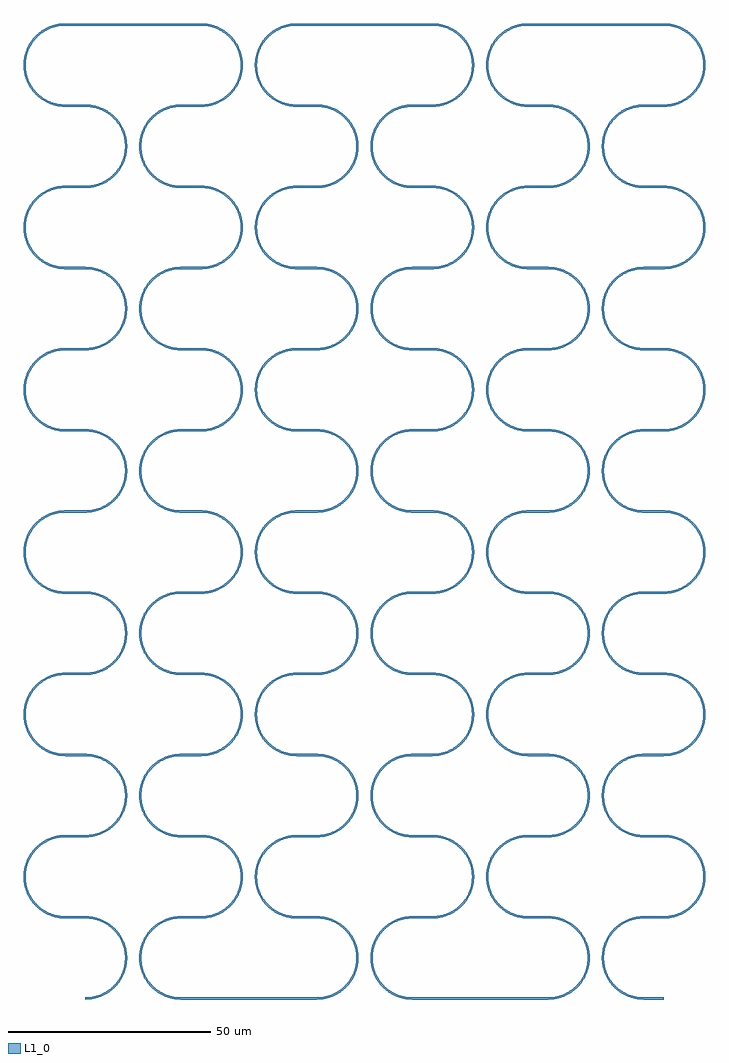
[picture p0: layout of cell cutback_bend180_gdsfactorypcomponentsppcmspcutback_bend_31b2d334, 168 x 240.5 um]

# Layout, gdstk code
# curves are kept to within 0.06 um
from math import pi, radians
import gdstk
lib = gdstk.Library(unit=1e-6, precision=1e-09)
def R(c, l, rs):  # rectangles x0, y0, x1, y1
    for r in rs: c.add(gdstk.rectangle(r[:2], r[2:], *l))
def P(c, l, *ps):  # polygons
    for p in ps: c.add(gdstk.Polygon(p, *l))
L1_0 = (1, 0)

bend_circular_gdsfactory = lib.new_cell('bend_circular_gdsfactorypcomponentspbendspbend_circular_89f01867')
P(bend_circular_gdsfactory, L1_0, [(0,-0.25),(0,0.25),(1.232,0.328),(2.204,0.502),(3.154,0.774),(4.294,1.246),(5.771,2.141),(7.067,3.283),(8.141,4.635),(8.642,5.486),(9.054,6.383),(9.374,7.318),(9.597,8.28),(9.75,10),(9.597,11.72),(9.374,12.682),(9.054,13.617),(8.642,14.514),(8.141,15.365),(7.067,16.717),(5.771,17.859),(4.294,18.754),(3.154,19.226),(2.204,19.498),(1.232,19.672),(0,19.75),(0,20.25),(1.037,20.197),(2.063,20.04),(3.802,19.519),(4.746,19.085),(5.641,18.558),(6.477,17.944),(7.248,17.248),(7.944,16.477),(8.558,15.641),(9.085,14.746),(9.519,13.802),(10.04,12.063),(10.197,11.037),(10.25,10),(10.197,8.963),(10.04,7.937),(9.519,6.198),(9.085,5.254),(8.558,4.359),(7.944,3.523),(7.248,2.752),(6.477,2.056),(5.641,1.442),(4.746,0.915),(3.802,0.481),(2.063,-0.04),(1.037,-0.197)])

straight_gdsfactorypcomp = lib.new_cell('straight_gdsfactorypcomponentspwaveguidespstraight_L5_N_32b584f5')
R(straight_gdsfactorypcomp, L1_0, [(0,-0.25,5,0.25)])

c_straight_gdsfactorypcomp = lib.new_cell('straight_gdsfactorypcomponentspwaveguidespstraight_L28p_b6ae3113')
R(c_straight_gdsfactorypcomp, L1_0, [(0,-0.25,28.5,0.25)])

cutback_bend180_gdsfacto = lib.new_cell('cutback_bend180_gdsfactorypcomponentsppcmspcutback_bend_31b2d334')
cutback_bend180_gdsfacto.add(gdstk.Reference(bend_circular_gdsfactory, (-5,120), rotation=pi))
cutback_bend180_gdsfacto.add(gdstk.Reference(straight_gdsfactorypcomp, (-5,120)))
cutback_bend180_gdsfacto.add(gdstk.Reference(bend_circular_gdsfactory, (0,120)))
cutback_bend180_gdsfacto.add(gdstk.Reference(bend_circular_gdsfactory, (23.5,140), rotation=pi))
cutback_bend180_gdsfacto.add(gdstk.Reference(straight_gdsfactorypcomp, (23.5,120)))
cutback_bend180_gdsfacto.add(gdstk.Reference(bend_circular_gdsfactory, (28.5,100)))
cutback_bend180_gdsfacto.add(gdstk.Reference(bend_circular_gdsfactory, (52,120), rotation=pi))
cutback_bend180_gdsfacto.add(gdstk.Reference(straight_gdsfactorypcomp, (52,120)))
cutback_bend180_gdsfacto.add(gdstk.Reference(bend_circular_gdsfactory, (57,120)))
cutback_bend180_gdsfacto.add(gdstk.Reference(c_straight_gdsfactorypcomp, (57,240)))
cutback_bend180_gdsfacto.add(gdstk.Reference(bend_circular_gdsfactory, (80.5,140), rotation=pi))
cutback_bend180_gdsfacto.add(gdstk.Reference(straight_gdsfactorypcomp, (80.5,120)))
cutback_bend180_gdsfacto.add(gdstk.Reference(bend_circular_gdsfactory, (85.5,100)))
cutback_bend180_gdsfacto.add(gdstk.Reference(bend_circular_gdsfactory, (109,120), rotation=pi))
cutback_bend180_gdsfacto.add(gdstk.Reference(straight_gdsfactorypcomp, (109,120)))
cutback_bend180_gdsfacto.add(gdstk.Reference(bend_circular_gdsfactory, (114,120)))
cutback_bend180_gdsfacto.add(gdstk.Reference(bend_circular_gdsfactory, (137.5,140), rotation=pi))
cutback_bend180_gdsfacto.add(gdstk.Reference(straight_gdsfactorypcomp, (137.5,120)))
cutback_bend180_gdsfacto.add(gdstk.Reference(bend_circular_gdsfactory, (142.5,100)))
cutback_bend180_gdsfacto.add(gdstk.Reference(straight_gdsfactorypcomp, (85.5,140), rotation=pi))
cutback_bend180_gdsfacto.add(gdstk.Reference(bend_circular_gdsfactory, (85.5,220)))
cutback_bend180_gdsfacto.add(gdstk.Reference(straight_gdsfactorypcomp, (85.5,220), rotation=pi))
cutback_bend180_gdsfacto.add(gdstk.Reference(bend_circular_gdsfactory, (80.5,220), rotation=pi))
cutback_bend180_gdsfacto.add(gdstk.Reference(straight_gdsfactorypcomp, (80.5,200)))
cutback_bend180_gdsfacto.add(gdstk.Reference(bend_circular_gdsfactory, (85.5,180)))
cutback_bend180_gdsfacto.add(gdstk.Reference(straight_gdsfactorypcomp, (85.5,180), rotation=pi))
cutback_bend180_gdsfacto.add(gdstk.Reference(straight_gdsfactorypcomp, (114,140), rotation=pi))
cutback_bend180_gdsfacto.add(gdstk.Reference(bend_circular_gdsfactory, (109,160), rotation=pi))
cutback_bend180_gdsfacto.add(gdstk.Reference(straight_gdsfactorypcomp, (109,160)))
cutback_bend180_gdsfacto.add(gdstk.Reference(bend_circular_gdsfactory, (114,160)))
cutback_bend180_gdsfacto.add(gdstk.Reference(straight_gdsfactorypcomp, (114,180), rotation=pi))
cutback_bend180_gdsfacto.add(gdstk.Reference(bend_circular_gdsfactory, (109,200), rotation=pi))
cutback_bend180_gdsfacto.add(gdstk.Reference(straight_gdsfactorypcomp, (109,200)))
cutback_bend180_gdsfacto.add(gdstk.Reference(bend_circular_gdsfactory, (114,200)))
cutback_bend180_gdsfacto.add(gdstk.Reference(straight_gdsfactorypcomp, (114,220), rotation=pi))
cutback_bend180_gdsfacto.add(gdstk.Reference(bend_circular_gdsfactory, (109,240), rotation=pi))
cutback_bend180_gdsfacto.add(gdstk.Reference(straight_gdsfactorypcomp, (109,240)))
cutback_bend180_gdsfacto.add(gdstk.Reference(c_straight_gdsfactorypcomp, (114,240)))
cutback_bend180_gdsfacto.add(gdstk.Reference(bend_circular_gdsfactory, (142.5,220)))
cutback_bend180_gdsfacto.add(gdstk.Reference(straight_gdsfactorypcomp, (142.5,220), rotation=pi))
cutback_bend180_gdsfacto.add(gdstk.Reference(bend_circular_gdsfactory, (137.5,220), rotation=pi))
cutback_bend180_gdsfacto.add(gdstk.Reference(straight_gdsfactorypcomp, (137.5,200)))
cutback_bend180_gdsfacto.add(gdstk.Reference(bend_circular_gdsfactory, (142.5,180)))
cutback_bend180_gdsfacto.add(gdstk.Reference(straight_gdsfactorypcomp, (142.5,180), rotation=pi))
cutback_bend180_gdsfacto.add(gdstk.Reference(bend_circular_gdsfactory, (137.5,180), rotation=pi))
cutback_bend180_gdsfacto.add(gdstk.Reference(straight_gdsfactorypcomp, (137.5,160)))
cutback_bend180_gdsfacto.add(gdstk.Reference(bend_circular_gdsfactory, (142.5,140)))
cutback_bend180_gdsfacto.add(gdstk.Reference(straight_gdsfactorypcomp, (142.5,140), rotation=pi))
cutback_bend180_gdsfacto.add(gdstk.Reference(bend_circular_gdsfactory, (80.5,180), rotation=pi))
cutback_bend180_gdsfacto.add(gdstk.Reference(straight_gdsfactorypcomp, (80.5,160)))
cutback_bend180_gdsfacto.add(gdstk.Reference(bend_circular_gdsfactory, (85.5,140)))
cutback_bend180_gdsfacto.add(gdstk.Reference(straight_gdsfactorypcomp, (23.5,200)))
cutback_bend180_gdsfacto.add(gdstk.Reference(bend_circular_gdsfactory, (28.5,180)))
cutback_bend180_gdsfacto.add(gdstk.Reference(straight_gdsfactorypcomp, (28.5,180), rotation=pi))
cutback_bend180_gdsfacto.add(gdstk.Reference(bend_circular_gdsfactory, (23.5,180), rotation=pi))
cutback_bend180_gdsfacto.add(gdstk.Reference(straight_gdsfactorypcomp, (23.5,160)))
cutback_bend180_gdsfacto.add(gdstk.Reference(bend_circular_gdsfactory, (28.5,140)))
cutback_bend180_gdsfacto.add(gdstk.Reference(straight_gdsfactorypcomp, (28.5,140), rotation=pi))
cutback_bend180_gdsfacto.add(gdstk.Reference(straight_gdsfactorypcomp, (0,140), rotation=pi))
cutback_bend180_gdsfacto.add(gdstk.Reference(bend_circular_gdsfactory, (-5,160), rotation=pi))
cutback_bend180_gdsfacto.add(gdstk.Reference(straight_gdsfactorypcomp, (-5,160)))
cutback_bend180_gdsfacto.add(gdstk.Reference(bend_circular_gdsfactory, (0,160)))
cutback_bend180_gdsfacto.add(gdstk.Reference(straight_gdsfactorypcomp, (0,180), rotation=pi))
cutback_bend180_gdsfacto.add(gdstk.Reference(bend_circular_gdsfactory, (-5,200), rotation=pi))
cutback_bend180_gdsfacto.add(gdstk.Reference(straight_gdsfactorypcomp, (57,140), rotation=pi))
cutback_bend180_gdsfacto.add(gdstk.Reference(bend_circular_gdsfactory, (52,160), rotation=pi))
cutback_bend180_gdsfacto.add(gdstk.Reference(straight_gdsfactorypcomp, (52,160)))
cutback_bend180_gdsfacto.add(gdstk.Reference(bend_circular_gdsfactory, (57,160)))
cutback_bend180_gdsfacto.add(gdstk.Reference(straight_gdsfactorypcomp, (57,180), rotation=pi))
cutback_bend180_gdsfacto.add(gdstk.Reference(bend_circular_gdsfactory, (52,200), rotation=pi))
cutback_bend180_gdsfacto.add(gdstk.Reference(straight_gdsfactorypcomp, (52,200)))
cutback_bend180_gdsfacto.add(gdstk.Reference(bend_circular_gdsfactory, (57,200)))
cutback_bend180_gdsfacto.add(gdstk.Reference(straight_gdsfactorypcomp, (57,220), rotation=pi))
cutback_bend180_gdsfacto.add(gdstk.Reference(bend_circular_gdsfactory, (52,240), rotation=pi))
cutback_bend180_gdsfacto.add(gdstk.Reference(straight_gdsfactorypcomp, (52,240)))
cutback_bend180_gdsfacto.add(gdstk.Reference(straight_gdsfactorypcomp, (-5,200)))
cutback_bend180_gdsfacto.add(gdstk.Reference(bend_circular_gdsfactory, (0,200)))
cutback_bend180_gdsfacto.add(gdstk.Reference(straight_gdsfactorypcomp, (0,220), rotation=pi))
cutback_bend180_gdsfacto.add(gdstk.Reference(bend_circular_gdsfactory, (-5,240), rotation=pi))
cutback_bend180_gdsfacto.add(gdstk.Reference(straight_gdsfactorypcomp, (-5,240)))
cutback_bend180_gdsfacto.add(gdstk.Reference(c_straight_gdsfactorypcomp, (0,240)))
cutback_bend180_gdsfacto.add(gdstk.Reference(bend_circular_gdsfactory, (28.5,220)))
cutback_bend180_gdsfacto.add(gdstk.Reference(straight_gdsfactorypcomp, (28.5,220), rotation=pi))
cutback_bend180_gdsfacto.add(gdstk.Reference(bend_circular_gdsfactory, (23.5,220), rotation=pi))
cutback_bend180_gdsfacto.add(gdstk.Reference(bend_circular_gdsfactory, (52,40), rotation=pi))
cutback_bend180_gdsfacto.add(gdstk.Reference(straight_gdsfactorypcomp, (52,40)))
cutback_bend180_gdsfacto.add(gdstk.Reference(bend_circular_gdsfactory, (57,40)))
cutback_bend180_gdsfacto.add(gdstk.Reference(straight_gdsfactorypcomp, (57,60), rotation=pi))
cutback_bend180_gdsfacto.add(gdstk.Reference(bend_circular_gdsfactory, (52,80), rotation=pi))
cutback_bend180_gdsfacto.add(gdstk.Reference(straight_gdsfactorypcomp, (52,80)))
cutback_bend180_gdsfacto.add(gdstk.Reference(bend_circular_gdsfactory, (57,80)))
cutback_bend180_gdsfacto.add(gdstk.Reference(straight_gdsfactorypcomp, (57,100), rotation=pi))
cutback_bend180_gdsfacto.add(gdstk.Reference(bend_circular_gdsfactory, (0,80)))
cutback_bend180_gdsfacto.add(gdstk.Reference(straight_gdsfactorypcomp, (0,100), rotation=pi))
cutback_bend180_gdsfacto.add(gdstk.Reference(bend_circular_gdsfactory, (0,0)))
cutback_bend180_gdsfacto.add(gdstk.Reference(straight_gdsfactorypcomp, (0,20), rotation=pi))
cutback_bend180_gdsfacto.add(gdstk.Reference(bend_circular_gdsfactory, (-5,40), rotation=pi))
cutback_bend180_gdsfacto.add(gdstk.Reference(straight_gdsfactorypcomp, (-5,40)))
cutback_bend180_gdsfacto.add(gdstk.Reference(bend_circular_gdsfactory, (0,40)))
cutback_bend180_gdsfacto.add(gdstk.Reference(straight_gdsfactorypcomp, (0,60), rotation=pi))
cutback_bend180_gdsfacto.add(gdstk.Reference(bend_circular_gdsfactory, (-5,80), rotation=pi))
cutback_bend180_gdsfacto.add(gdstk.Reference(straight_gdsfactorypcomp, (-5,80)))
cutback_bend180_gdsfacto.add(gdstk.Reference(straight_gdsfactorypcomp, (28.5,100), rotation=pi))
cutback_bend180_gdsfacto.add(gdstk.Reference(bend_circular_gdsfactory, (23.5,100), rotation=pi))
cutback_bend180_gdsfacto.add(gdstk.Reference(straight_gdsfactorypcomp, (23.5,80)))
cutback_bend180_gdsfacto.add(gdstk.Reference(bend_circular_gdsfactory, (28.5,60)))
cutback_bend180_gdsfacto.add(gdstk.Reference(straight_gdsfactorypcomp, (28.5,60), rotation=pi))
cutback_bend180_gdsfacto.add(gdstk.Reference(bend_circular_gdsfactory, (23.5,60), rotation=pi))
cutback_bend180_gdsfacto.add(gdstk.Reference(straight_gdsfactorypcomp, (23.5,40)))
cutback_bend180_gdsfacto.add(gdstk.Reference(bend_circular_gdsfactory, (28.5,20)))
cutback_bend180_gdsfacto.add(gdstk.Reference(straight_gdsfactorypcomp, (28.5,20), rotation=pi))
cutback_bend180_gdsfacto.add(gdstk.Reference(bend_circular_gdsfactory, (23.5,20), rotation=pi))
cutback_bend180_gdsfacto.add(gdstk.Reference(straight_gdsfactorypcomp, (23.5,0)))
cutback_bend180_gdsfacto.add(gdstk.Reference(c_straight_gdsfactorypcomp, (28.5,0)))
cutback_bend180_gdsfacto.add(gdstk.Reference(bend_circular_gdsfactory, (57,0)))
cutback_bend180_gdsfacto.add(gdstk.Reference(straight_gdsfactorypcomp, (57,20), rotation=pi))
cutback_bend180_gdsfacto.add(gdstk.Reference(straight_gdsfactorypcomp, (80.5,40)))
cutback_bend180_gdsfacto.add(gdstk.Reference(bend_circular_gdsfactory, (85.5,20)))
cutback_bend180_gdsfacto.add(gdstk.Reference(straight_gdsfactorypcomp, (85.5,20), rotation=pi))
cutback_bend180_gdsfacto.add(gdstk.Reference(bend_circular_gdsfactory, (80.5,20), rotation=pi))
cutback_bend180_gdsfacto.add(gdstk.Reference(straight_gdsfactorypcomp, (80.5,0)))
cutback_bend180_gdsfacto.add(gdstk.Reference(c_straight_gdsfactorypcomp, (85.5,0)))
cutback_bend180_gdsfacto.add(gdstk.Reference(bend_circular_gdsfactory, (114,0)))
cutback_bend180_gdsfacto.add(gdstk.Reference(straight_gdsfactorypcomp, (114,20), rotation=pi))
cutback_bend180_gdsfacto.add(gdstk.Reference(bend_circular_gdsfactory, (109,40), rotation=pi))
cutback_bend180_gdsfacto.add(gdstk.Reference(straight_gdsfactorypcomp, (109,40)))
cutback_bend180_gdsfacto.add(gdstk.Reference(bend_circular_gdsfactory, (114,40)))
cutback_bend180_gdsfacto.add(gdstk.Reference(straight_gdsfactorypcomp, (114,60), rotation=pi))
cutback_bend180_gdsfacto.add(gdstk.Reference(bend_circular_gdsfactory, (109,80), rotation=pi))
cutback_bend180_gdsfacto.add(gdstk.Reference(straight_gdsfactorypcomp, (109,80)))
cutback_bend180_gdsfacto.add(gdstk.Reference(bend_circular_gdsfactory, (114,80)))
cutback_bend180_gdsfacto.add(gdstk.Reference(straight_gdsfactorypcomp, (114,100), rotation=pi))
cutback_bend180_gdsfacto.add(gdstk.Reference(straight_gdsfactorypcomp, (85.5,100), rotation=pi))
cutback_bend180_gdsfacto.add(gdstk.Reference(bend_circular_gdsfactory, (80.5,100), rotation=pi))
cutback_bend180_gdsfacto.add(gdstk.Reference(straight_gdsfactorypcomp, (80.5,80)))
cutback_bend180_gdsfacto.add(gdstk.Reference(bend_circular_gdsfactory, (85.5,60)))
cutback_bend180_gdsfacto.add(gdstk.Reference(straight_gdsfactorypcomp, (85.5,60), rotation=pi))
cutback_bend180_gdsfacto.add(gdstk.Reference(bend_circular_gdsfactory, (80.5,60), rotation=pi))
cutback_bend180_gdsfacto.add(gdstk.Reference(straight_gdsfactorypcomp, (142.5,100), rotation=pi))
cutback_bend180_gdsfacto.add(gdstk.Reference(bend_circular_gdsfactory, (137.5,100), rotation=pi))
cutback_bend180_gdsfacto.add(gdstk.Reference(straight_gdsfactorypcomp, (137.5,80)))
cutback_bend180_gdsfacto.add(gdstk.Reference(bend_circular_gdsfactory, (142.5,60)))
cutback_bend180_gdsfacto.add(gdstk.Reference(straight_gdsfactorypcomp, (142.5,60), rotation=pi))
cutback_bend180_gdsfacto.add(gdstk.Reference(bend_circular_gdsfactory, (137.5,60), rotation=pi))
cutback_bend180_gdsfacto.add(gdstk.Reference(straight_gdsfactorypcomp, (137.5,40)))
cutback_bend180_gdsfacto.add(gdstk.Reference(bend_circular_gdsfactory, (142.5,20)))
cutback_bend180_gdsfacto.add(gdstk.Reference(straight_gdsfactorypcomp, (142.5,20), rotation=pi))
cutback_bend180_gdsfacto.add(gdstk.Reference(bend_circular_gdsfactory, (137.5,20), rotation=pi))
cutback_bend180_gdsfacto.add(gdstk.Reference(straight_gdsfactorypcomp, (137.5,0)))

lib.write_gds('cutback_bend180_gdsfactorypcomponentsppcmspcutback_bend_31b2d334.gds')
